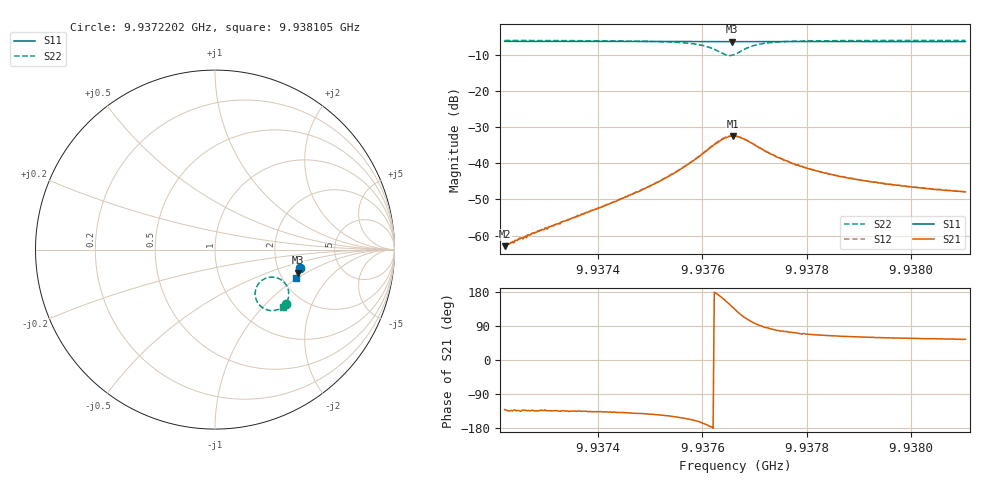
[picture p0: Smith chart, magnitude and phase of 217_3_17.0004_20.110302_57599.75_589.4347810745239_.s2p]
#  HZ  S  RI  R  50.00
! Rohde & Schwarz Vector Network Analyzer
! Rohde-Schwarz,ZNB20-2Port,1311601062101988,3.16
! Created: UTC 3/20/2024, 11:01:49 PM
! freq[Hz]  re:S11  im:S11  re:S21  im:S21  re:S12  im:S12  re:S22  im:S22
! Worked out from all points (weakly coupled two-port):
!   401 points, 9.9372202 GHz to 9.938105 GHz, reference 50 ohm
!   highest |S21| = -32.46 dB at 9.9376582 GHz (marker M1); lowest = -62.9 dB at 9.9372202 GHz (marker M2)
!   lowest |S11| = -6.4 dB at 9.937656 GHz (marker M3), VSWR 2.84, Z = 126 - j42 ohm
!   |S11| at or under -10 dB: nowhere
!   |S22| runs from -10.2 to -6.1 dB; largest |S21 - S12| = 0.0011
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9.93722018e9  0.4731 -0.1015  -0.00047 -0.00054  -0.000532 -0.000538  0.3934 -0.3053
9.93723567e9  0.4727 -0.1024  -0.000582 -0.000593  -0.000553 -0.000598  0.3921 -0.3066
9.93727106e9  0.4721 -0.1049  -0.000726 -0.000768  -0.000718 -0.000748  0.3891 -0.3093
9.93736839e9  0.4701 -0.1114  -0.0014 -0.00139  -0.00146 -0.00139  0.3785 -0.3184
9.93743918e9  0.4685 -0.1163  -0.00233 -0.00207  -0.0024 -0.00205  0.367 -0.3261
9.9375166e9  0.4667 -0.1215  -0.00454 -0.00321  -0.00471 -0.00319  0.3436 -0.3362
9.93756527e9  0.4653 -0.1249  -0.00804 -0.00397  -0.00823 -0.00389  0.313 -0.3398
9.93760509e9  0.4636 -0.1275  -0.0142 -0.0027  -0.0146 -0.00256  0.2637 -0.323
9.93763606e9  0.4622 -0.1289  -0.0204 0.00499  -0.0207 0.00577  0.2241 -0.2516
9.93764712e9  0.4618 -0.129  -0.0205 0.0104  -0.0205 0.0114  0.2316 -0.2093
9.93765597e9  0.4615 -0.1289  -0.0185 0.0148  -0.0185 0.0155  0.2531 -0.1788
9.93765818e9  0.4617 -0.1288  -0.018 0.0156  -0.0176 0.0164  0.2604 -0.1725
9.9376626e9  0.4616 -0.129  -0.0164 0.017  -0.0159 0.018  0.276 -0.1627
9.93767366e9  0.462 -0.1293  -0.0112 0.0195  -0.0107 0.0202  0.3179 -0.1532
9.93768915e9  0.4622 -0.1303  -0.00535 0.0192  -0.00448 0.0197  0.3649 -0.1662
9.93771348e9  0.4624 -0.1322  0.000115 0.0159  0.000553 0.0158  0.3997 -0.2026
9.93774224e9  0.4623 -0.1344  0.00259 0.012  0.00256 0.0121  0.4102 -0.2362
9.93776878e9  0.4618 -0.1364  0.003 0.00973  0.00313 0.00975  0.4106 -0.2563
9.93781081e9  0.4607 -0.1394  0.00319 0.00753  0.00337 0.00752  0.4065 -0.2764
9.9378816e9  0.459 -0.144  0.00295 0.00549  0.0031 0.00549  0.3987 -0.2953
9.93795902e9  0.4573 -0.1493  0.00269 0.00434  0.00278 0.00436  0.3913 -0.3077
9.93810502e9  0.4534 -0.1587  0.00234 0.00328  0.00243 0.00329  0.3796 -0.3224
